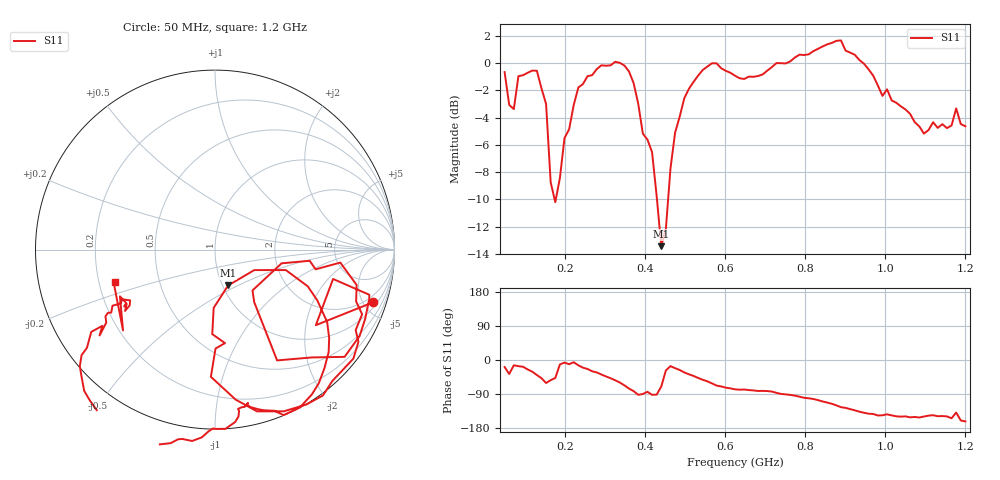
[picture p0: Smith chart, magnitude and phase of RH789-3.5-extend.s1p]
# HZ S RI R 50
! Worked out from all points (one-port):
!   101 points, 50 MHz to 1.2 GHz, reference 50 ohm
!   lowest |S11| = -13.4 dB at 441 MHz (marker M1), VSWR 1.54, Z = 53.1 - j22.2 ohm
!   |S11| at or under -10 dB: 174.9 MHz to 177.8 MHz (2.992 MHz wide, 1.7 % of centre); 430.2 MHz to 458.1 MHz (27.85 MHz wide, 6.27 % of centre)
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5e7  0.8787 -0.2945
6.15e7  0.5619 -0.4211
7.3e7  0.6578 -0.1637
8.45e7  0.8596 -0.2515
1.19e8  0.8057 -0.4815
1.535e8  0.346 -0.6174
1.65e8  0.2183 -0.2922
1.765e8  0.209 -0.2273
1.995e8  0.5274 -0.0623
2.225e8  0.6983 -0.0724
2.57e8  0.8197 -0.3602
3.375e8  0.5094 -0.8629
3.605e8  0.2344 -0.9013
3.835e8  -0.023 -0.7086
4.18e8  -0.0152 -0.471
4.41e8  0.0729 -0.2
4.64e8  0.3947 -0.1141
4.87e8  0.57 -0.2828
5.675e8  0.4728 -0.8794
6.25e8  0.1968 -0.8769
7.745e8  -0.0737 -1.046
8.665e8  -0.5103 -1.07
9.125e8  -0.6967 -0.8416
9.815e8  -0.6895 -0.4585
1.062e9  -0.5712 -0.3126
1.1655e9  -0.5297 -0.2606
1.177e9  -0.5123 -0.4502
1.2e9  -0.5579 -0.1803
